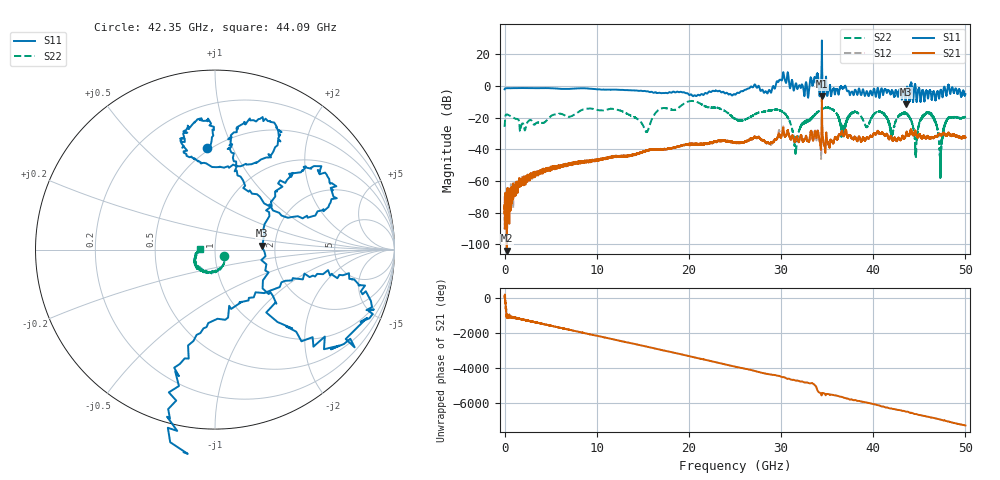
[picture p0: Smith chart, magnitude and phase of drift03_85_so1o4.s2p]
!Created with skrf (http://scikit-rf.org).
# Hz S RI R 50.0
!freq ReS11 ImS11 ReS21 ImS21 ReS12 ImS12 ReS22 ImS22
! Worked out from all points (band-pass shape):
!   10000 points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, 5.3 MHz to 50 GHz, reference 50 ohm
!   highest |S21| = -6.48 dB at 34.43 GHz (marker M1); lowest = -104.1 dB at 245.3 MHz (marker M2)
!   |S21| within 3 dB of the highest: 34.42753 GHz to 34.43537 GHz (7.842 MHz wide, 0.0228 % of centre)
!   lowest |S11| = -11.7 dB at 43.52 GHz (marker M3), VSWR 1.70, Z = 84.9 + j3.86 ohm
!   |S11| at or under -10 dB: 43.48418 GHz to 43.54312 GHz (58.94 MHz wide, 0.135 % of centre); 44.32074 GHz to 44.328 GHz (7.252 MHz wide, 0.0164 % of centre); 44.70664 GHz to 44.71153 GHz (4.887 MHz wide, 0.0109 % of centre) (the widest 3 of 4)
!   |S22| runs from -58.2 to -9.4 dB; largest |S21 - S12| = 0.14
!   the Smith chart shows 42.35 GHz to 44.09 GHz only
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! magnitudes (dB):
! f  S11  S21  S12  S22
! 5.3 MHz  -2.1  -79.6  -69.9  -25.8
! 245.3 MHz  -1.4  -104.1  -76.4  -18.0
! 2.36 GHz  -1.4  -58.5  -57.9  -24.9
! 8.34 GHz  -1.5  -48.3  -48.1  -15.3
! 12.49 GHz  -2.5  -44.2  -44.7  -15.4
! 15.4 GHz  -3.4  -40.7  -40.9  -29.2
! 16.67 GHz  -4.4  -40.0  -40.0  -15.3
! 20.48 GHz  -6.4  -36.5  -36.8  -9.5
! 25.01 GHz  -5.5  -35.8  -36.0  -20.9
! 29.92 GHz  3.9  -32.2  -31.5  -15.6
! 31.59 GHz  1.4  -33.9  -34.0  -42.7
! 33.34 GHz  2.6  -30.1  -30.4  -20.3
! 34.43 GHz  28.7  -6.5  -8.4  -14.5
! 36.71 GHz  -1.5  -30.3  -30.1  -28.5
! 37.93 GHz  -4.5  -32.9  -32.7  -16.4
! 41.67 GHz  -2.8  -33.3  -33.3  -22.6
! 43.52 GHz  -11.7  -31.5  -31.6  -17.6
! 44.62 GHz  -2.6  -29.3  -29.5  -43.7
! 46.24 GHz  -4.2  -32.8  -33.1  -18.1
! 47.29 GHz  -2.8  -30.7  -30.5  -56.7
! 48.09 GHz  -0.4  -30.4  -30.5  -21.0
! 50 GHz  -5.2  -32.6  -32.5  -19.4
